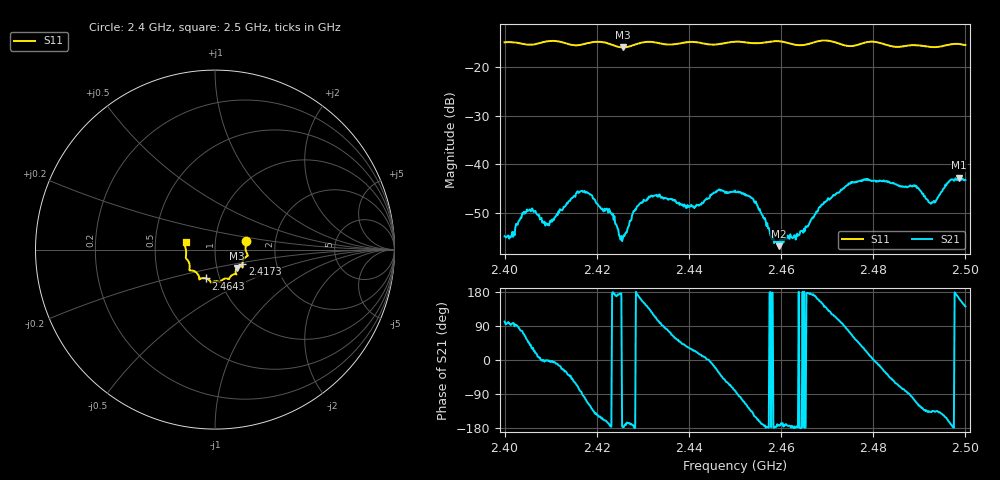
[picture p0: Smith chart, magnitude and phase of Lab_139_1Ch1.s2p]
# Hz S RI R 50
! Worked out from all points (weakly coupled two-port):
!   601 points, 2.4 GHz to 2.5 GHz, reference 50 ohm
!   highest |S21| = -42.68 dB at 2.4987 GHz (marker M1); lowest = -56.8 dB at 2.4595 GHz (marker M2)
!   lowest |S11| = -15.9 dB at 2.4257 GHz (marker M3), VSWR 1.38, Z = 62.4 - j13.1 ohm
!   |S11| at or under -10 dB: start of sweep to end of sweep
!   S12 and S22 are empty: the file has one direction only
!   S11 on the Smith chart (normalised r, x): 2.4 GHz: 1.41, +0.15; 2.4173 GHz: 1.34, -0.23; 2.4643 GHz: 0.86, -0.28; 2.5 GHz: 0.72, +0.06
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2.4e9  0.1734 0.0498  -0.000362 0.00179  0 0  0 0
2.405e9  0.17 0.013  0.0021 0.00257  0 0  0 0
2.409833e9  0.183 -0.0322  0.00261 -0.000218  0 0  0 0
2.416667e9  0.1531 -0.0746  0.000535 -0.00531  0 0  0 0
2.417333e9  0.1526 -0.0821  -0.00076 -0.0053  0 0  0 0
2.423e9  0.1449 -0.0936  -0.00317 -0.000246  0 0  0 0
2.425667e9  0.1223 -0.1024  -0.00175 -9.62e-05  0 0  0 0
2.429167e9  0.1162 -0.132  -0.00376 0.000889  0 0  0 0
2.433333e9  0.1127 -0.1366  -0.00106 0.00455  0 0  0 0
2.441167e9  0.0773 -0.1646  0.00323 0.00148  0 0  0 0
2.446333e9  0.0448 -0.1663  0.00463 -0.00284  0 0  0 0
2.45e9  0.0295 -0.1807  0.000867 -0.00533  0 0  0 0
2.454167e9  0.00871 -0.1762  -0.00349 -0.0022  0 0  0 0
2.4595e9  -0.0223 -0.1836  -0.00143 -0.000203  0 0  0 0
2.464333e9  -0.05 -0.1606  -0.00207 -4.96e-06  0 0  0 0
2.466667e9  -0.0763 -0.16  -0.00276 0.000327  0 0  0 0
2.475167e9  -0.1079 -0.1248  0.00242 0.00613  0 0  0 0
2.483333e9  -0.1411 -0.0894  0.00485 -0.00445  0 0  0 0
2.489167e9  -0.1623 -0.0451  -0.00194 -0.00562  0 0  0 0
2.4925e9  -0.1603 -0.0198  -0.00288 -0.0027  0 0  0 0
2.498667e9  -0.1696 0.0346  -0.00696 0.00236  0 0  0 0
2.5e9  -0.1636 0.042  -0.00542 0.00434  0 0  0 0
